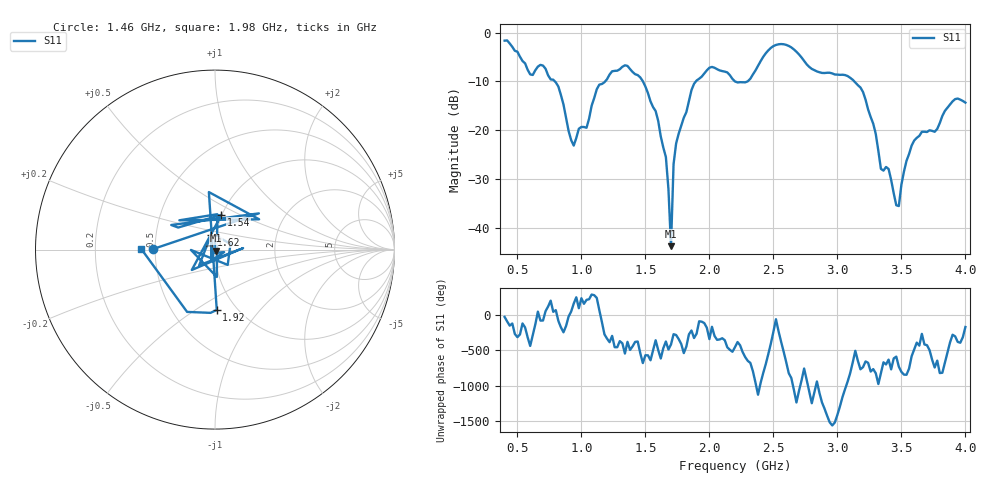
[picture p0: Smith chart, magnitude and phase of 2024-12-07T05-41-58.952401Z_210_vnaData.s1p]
!Created with skrf (http://scikit-rf.org).
# Hz S RI R 50.0
!freq ReS11 ImS11
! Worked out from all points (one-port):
!   181 points, 400 MHz to 4 GHz, reference 50 ohm
!   lowest |S11| = -43.8 dB at 1.7 GHz (marker M1), VSWR 1.01, Z = 50.3 - j0.547 ohm
!   |S11| at or under -10 dB: 792.2 MHz to 1.186 GHz (394 MHz wide, 39.8 % of centre); 1.48 GHz to 1.895 GHz (414.7 MHz wide, 24.6 % of centre); 3.132 GHz to end of sweep (the widest 3 of 4)
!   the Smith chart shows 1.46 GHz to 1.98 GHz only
!   S11 on the Smith chart (normalised r, x): 1.46 GHz: 0.49, +0.00; 1.54 GHz: 0.99, +0.40; 1.62 GHz: 0.95, +0.16; 1.92 GHz: 0.81, -0.61; 1.98 GHz: 0.42, +0.00
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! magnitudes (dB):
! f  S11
! 400 MHz  -1.7
! 600 MHz  -8.6
! 700 MHz  -6.8
! 860 MHz  -14.8
! 940 MHz  -23.2
! 1.14 GHz  -10.7
! 1.3 GHz  -7.5
! 1.46 GHz  -9.2
! 1.54 GHz  -14.1
! 1.62 GHz  -21.3
! 1.66 GHz  -25.5
! 1.7 GHz  -43.8
! 1.72 GHz  -27.0
! 1.76 GHz  -20.7
! 1.92 GHz  -9.5
! 1.98 GHz  -7.7
! 2.2 GHz  -10.0
! 2.5 GHz  -2.8
! 2.66 GHz  -3.5
! 3.1 GHz  -9.3
! 3.2 GHz  -12.2
! 3.3 GHz  -20.8
! 3.34 GHz  -27.9
! 3.4 GHz  -28.0
! 3.46 GHz  -35.4
! 3.56 GHz  -24.9
! 3.9 GHz  -14.1
! 4 GHz  -14.4
